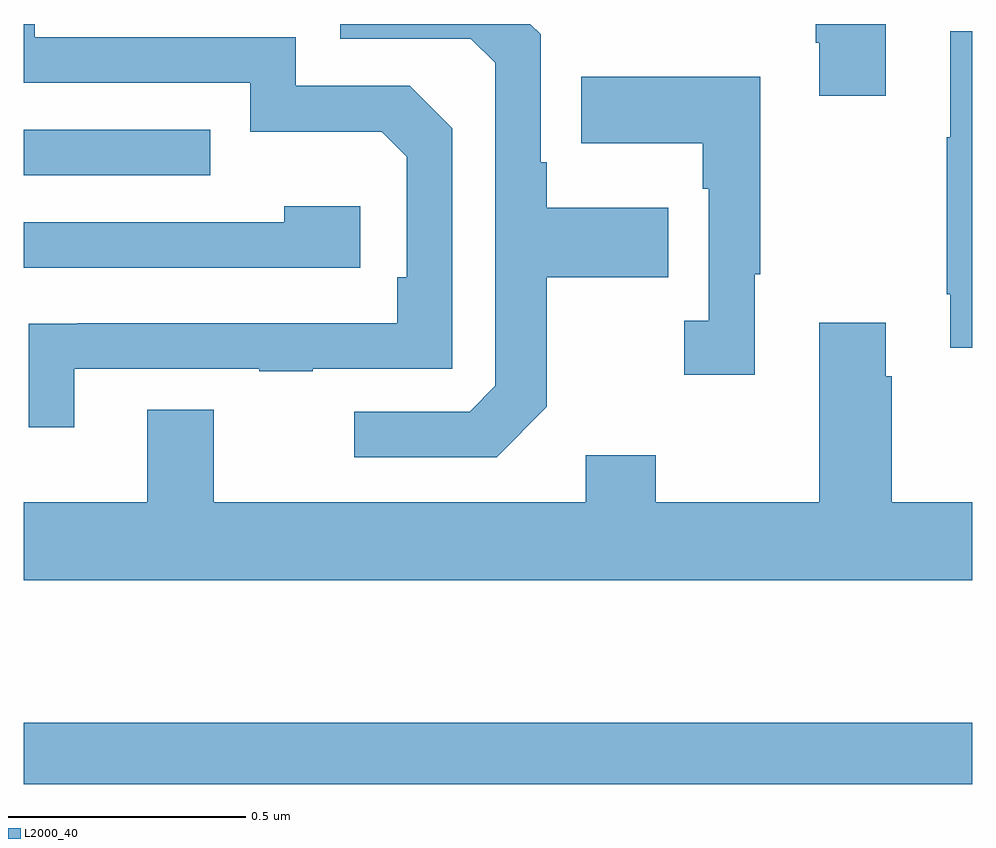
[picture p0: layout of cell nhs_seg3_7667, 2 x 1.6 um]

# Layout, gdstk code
import gdstk
lib = gdstk.Library(unit=1e-6, precision=1e-09)
def R(c, l, rs):  # rectangles x0, y0, x1, y1
    for r in rs: c.add(gdstk.rectangle(r[:2], r[2:], *l))
def P(c, l, *ps):  # polygons
    for p in ps: c.add(gdstk.Polygon(p, *l))
L2000_40 = (2000, 40)

nhs_seg3_7667 = lib.new_cell('nhs_seg3_7667')
R(nhs_seg3_7667, L2000_40, [(206,721.798,208,721.927), (206,723.081,206.393,723.177)])
P(nhs_seg3_7667, L2000_40, [(207.817,723.4),(207.67,723.4),(207.67,723.361),(207.677,723.361),(207.677,723.249),(207.817,723.249)],
  [(206.107,722.673),(206.497,722.673),(206.497,722.668),(206.609,722.668),(206.609,722.673),(206.904,722.673),(206.904,723.18),(206.814,723.27),(206.574,723.27),(206.574,723.372),(206.023,723.372),(206.023,723.4),(206,723.4),(206,723.276),(206.478,723.276),(206.478,723.173),(206.755,723.173),(206.808,723.12),(206.808,722.866),(206.788,722.866),(206.788,722.769),(206.113,722.769),(206.113,722.768),(206.011,722.768),(206.011,722.55),(206.107,722.55)],
  [(207.103,722.593),(207.103,722.866),(207.359,722.866),(207.359,723.013),(207.103,723.013),(207.103,723.109),(207.09,723.109),(207.09,723.378),(207.068,723.4),(206.667,723.4),(206.667,723.369),(206.943,723.369),(206.994,723.318),(206.994,722.637),(206.94,722.583),(206.697,722.583),(206.697,722.487),(206.997,722.487)],
  [(208,723.385),(207.953,723.385),(207.953,723.161),(207.946,723.161),(207.946,722.83),(207.953,722.83),(207.953,722.718),(208,722.718)],
  [(207.541,722.873),(207.553,722.873),(207.553,723.289),(207.175,723.289),(207.175,723.149),(207.432,723.149),(207.432,723.053),(207.444,723.053),(207.444,722.774),(207.393,722.774),(207.393,722.661),(207.541,722.661)],
  [(206.71,723.016),(206.549,723.016),(206.549,722.982),(206,722.982),(206,722.886),(206.71,722.886)],
  [(208,722.392),(207.83,722.392),(207.83,722.657),(207.817,722.657),(207.817,722.77),(207.677,722.77),(207.677,722.392),(207.333,722.392),(207.333,722.491),(207.185,722.491),(207.185,722.392),(206.401,722.392),(206.401,722.587),(206.261,722.587),(206.261,722.392),(206,722.392),(206,722.228),(208,722.228)])

lib.write_gds('nhs_seg3_7667.gds')
